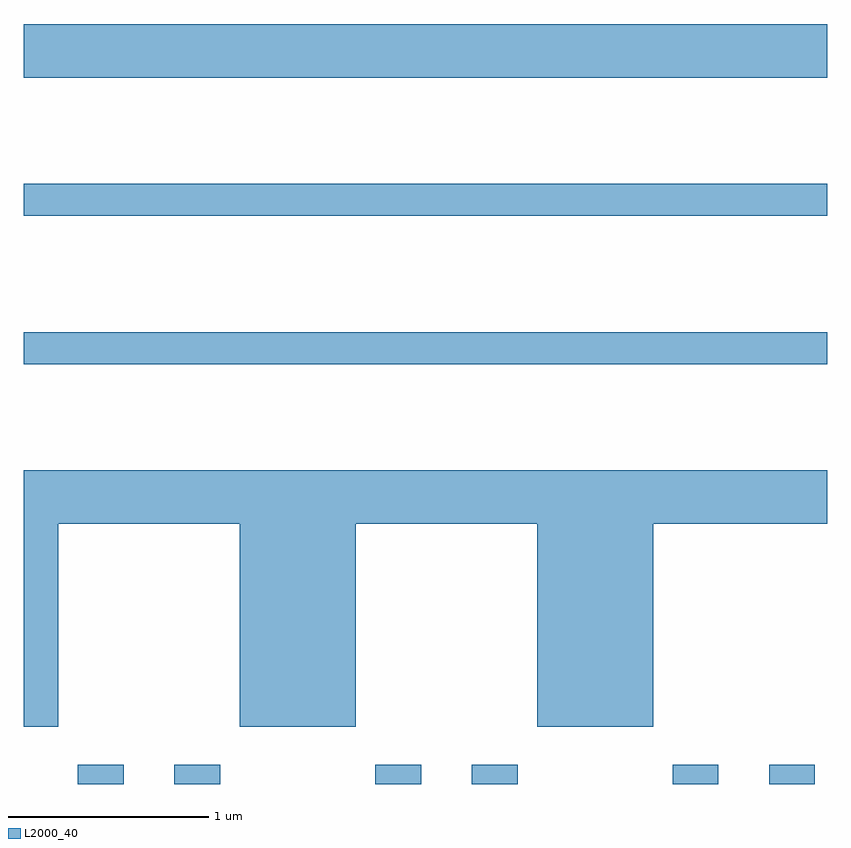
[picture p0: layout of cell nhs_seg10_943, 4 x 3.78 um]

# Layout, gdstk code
import gdstk
lib = gdstk.Library(unit=1e-6, precision=1e-09)
def R(c, l, rs):  # rectangles x0, y0, x1, y1
    for r in rs: c.add(gdstk.rectangle(r[:2], r[2:], *l))
def P(c, l, *ps):  # polygons
    for p in ps: c.add(gdstk.Polygon(p, *l))
L2000_40 = (2000, 40)

nhs_seg10_943 = lib.new_cell('nhs_seg10_943')
R(nhs_seg10_943, L2000_40, [(211.881,2212.522,212.109,2212.619), (212.361,2212.522,212.589,2212.619), (213.361,2212.522,213.589,2212.619), (213.841,2212.522,214.069,2212.619), (214.841,2212.522,215.069,2212.619), (215.321,2212.522,215.549,2212.619), (211.611,2214.611,215.611,2214.769), (211.611,2215.351,215.611,2215.509), (211.611,2216.036,215.611,2216.304)])
P(nhs_seg10_943, L2000_40, [(211.784,2213.816),(212.686,2213.816),(212.686,2212.806),(213.264,2212.806),(213.264,2213.816),(214.166,2213.816),(214.166,2212.806),(214.744,2212.806),(214.744,2213.816),(215.611,2213.816),(215.611,2214.084),(211.611,2214.084),(211.611,2212.806),(211.784,2212.806)])

lib.write_gds('nhs_seg10_943.gds')
